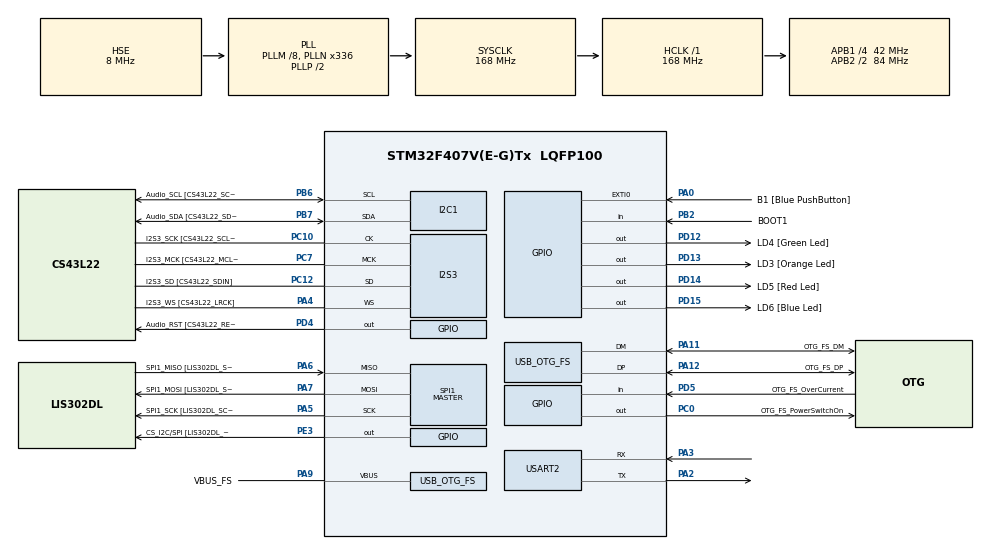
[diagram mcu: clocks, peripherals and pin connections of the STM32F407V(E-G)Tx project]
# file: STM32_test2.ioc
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I2S3.AudioFreq-Half_Duplex_Master=I2S_AUDIOFREQ_96K
I2S3.ErrorAudioFreq=-2.34 %
I2S3.ErrorAudioFreq-Half_Duplex_Master=0.8 %
I2S3.FullDuplexMode=I2S_FULLDUPLEXMODE_DISABLE
I2S3.Instance=SPI$Index
I2S3.RealAudioFreq=93.75 KHz
I2S3.RealAudioFreq-Half_Duplex_Master=96.774 KHz
I2S3.VirtualMode=I2S_MODE_MASTER
Mcu.Family=STM32F4
Mcu.Name=STM32F407V(E-G)Tx
Mcu.Package=LQFP100
NVIC.OTG_FS_IRQn=true\:0\:0\:false\:false\:true\:true\:true\:true
NVIC.PriorityGroup=NVIC_PRIORITYGROUP_0
NVIC.USART2_IRQn=true\:0\:0\:false\:false\:true\:true\:true\:true
PA0-WKUP.GPIO_Label=B1 [Blue PushButton]
PA0-WKUP.GPIO_ModeDefaultEXTI=GPIO_MODE_EVT_RISING
PA0-WKUP.GPIO_PuPd=GPIO_NOPULL
PA0-WKUP.Signal=GPXTI0
PA10.GPIO_Label=OTG_FS_ID
PA10.GPIO_Mode=GPIO_MODE_AF_PP
PA10.GPIO_PuPd=GPIO_NOPULL
PA10.GPIO_Speed=GPIO_SPEED_FREQ_LOW
PA10.Signal=USB_OTG_FS_ID
PA11.GPIO_Label=OTG_FS_DM
PA11.GPIO_Mode=GPIO_MODE_AF_PP
PA11.GPIO_PuPd=GPIO_NOPULL
PA11.GPIO_Speed=GPIO_SPEED_FREQ_LOW
PA11.Mode=Host_Only
PA11.Signal=USB_OTG_FS_DM
PA12.GPIO_Label=OTG_FS_DP
PA12.GPIO_Mode=GPIO_MODE_AF_PP
PA12.GPIO_PuPd=GPIO_NOPULL
PA12.GPIO_Speed=GPIO_SPEED_FREQ_LOW
PA12.Mode=Host_Only
PA12.Signal=USB_OTG_FS_DP
PA13.GPIO_Label=SWDIO
PA13.Mode=Serial_Wire
PA13.Signal=SYS_JTMS-SWDIO
PA14.GPIO_Label=SWCLK
PA14.Mode=Serial_Wire
PA14.Signal=SYS_JTCK-SWCLK
PA2.Mode=Asynchronous
PA2.Signal=USART2_TX
PA3.Mode=Asynchronous
PA3.Signal=USART2_RX
PA4.GPIO_Label=I2S3_WS [CS43L22_LRCK]
PA4.GPIO_Mode=GPIO_MODE_AF_PP
PA4.GPIO_PuPd=GPIO_NOPULL
PA4.GPIO_Speed=GPIO_SPEED_FREQ_LOW
PA4.Mode=Half_Duplex_Master
PA4.Signal=I2S3_WS
PA5.GPIO_Label=SPI1_SCK [LIS302DL_SCL/SPC]
PA5.GPIO_Mode=GPIO_MODE_AF_PP
PA5.GPIO_PuPd=GPIO_NOPULL
PA5.GPIO_Speed=GPIO_SPEED_FREQ_LOW
PA5.Mode=Full_Duplex_Master
PA5.Signal=SPI1_SCK
PA6.GPIO_Label=SPI1_MISO [LIS302DL_SDO]
PA6.GPIO_Mode=GPIO_MODE_AF_PP
PA6.GPIO_PuPd=GPIO_NOPULL
PA6.GPIO_Speed=GPIO_SPEED_FREQ_LOW
PA6.Mode=Full_Duplex_Master
PA6.Signal=SPI1_MISO
PA7.GPIO_Label=SPI1_MOSI [LIS302DL_SDA/SDI/SDO]
PA7.GPIO_Mode=GPIO_MODE_AF_PP
PA7.GPIO_PuPd=GPIO_NOPULL
PA7.GPIO_Speed=GPIO_SPEED_FREQ_LOW
PA7.Mode=Full_Duplex_Master
PA7.Signal=SPI1_MOSI
PA9.GPIO_Label=VBUS_FS
PA9.GPIO_Mode=GPIO_MODE_INPUT
PA9.GPIO_PuPd=GPIO_NOPULL
PA9.Mode=Activate_VBUS
PA9.Signal=USB_OTG_FS_VBUS
PB10.GPIO_Label=CLK_IN [MP45DT02_CLK]
PB10.GPIO_Mode=GPIO_MODE_AF_PP
PB10.GPIO_PuPd=GPIO_NOPULL
PB10.GPIO_Speed=GPIO_SPEED_FREQ_LOW
PB10.Signal=I2S2_CK
PB2.GPIO_Label=BOOT1
PB2.GPIO_Mode=GPIO_MODE_INPUT
PB2.GPIO_PuPd=GPIO_NOPULL
PB2.Signal=GPIO_Input
PB3.GPIO_Label=SWO
PB3.Signal=SYS_JTDO-SWO
PB6.GPIO_Label=Audio_SCL [CS43L22_SCL]
PB6.GPIO_Mode=GPIO_MODE_AF_OD
PB6.GPIO_Pu=GPIO_PULLUP
PB6.GPIO_PuPd=GPIO_NOPULL
PB6.GPIO_Speed=GPIO_SPEED_FREQ_LOW
PB6.Mode=I2C
PB6.Signal=I2C1_SCL
PB7.GPIO_Label=Audio_SDA [CS43L22_SDA]
PB7.GPIO_Mode=GPIO_MODE_AF_OD
PB7.GPIO_Pu=GPIO_PULLUP
PB7.GPIO_Speed=GPIO_SPEED_FREQ_LOW
PB7.Mode=I2C
PB7.Signal=I2C1_SDA
PC0.GPIO_Label=OTG_FS_PowerSwitchOn
PC0.GPIO_PuPd=GPIO_NOPULL
PC0.GPIO_Speed=GPIO_SPEED_FREQ_LOW
PC0.PinState=GPIO_PIN_SET
PC0.Signal=GPIO_Output
PC10.GPIO_Label=I2S3_SCK [CS43L22_SCLK]
PC10.GPIO_Mode=GPIO_MODE_AF_PP
PC10.GPIO_PuPd=GPIO_NOPULL
PC10.GPIO_Speed=GPIO_SPEED_FREQ_LOW
PC10.Mode=Half_Duplex_Master
PC10.Signal=I2S3_CK
PC12.GPIO_Label=I2S3_SD [CS43L22_SDIN]
PC12.GPIO_Mode=GPIO_MODE_AF_PP
PC12.GPIO_PuPd=GPIO_NOPULL
PC12.GPIO_Speed=GPIO_SPEED_FREQ_LOW
PC12.Mode=Half_Duplex_Master
PC12.Signal=I2S3_SD
PC14-OSC32_IN.GPIO_Label=PC14-OSC32_IN
PC14-OSC32_IN.Mode=LSE-External-Oscillator
PC14-OSC32_IN.Signal=RCC_OSC32_IN
PC15-OSC32_OUT.GPIO_Label=PC15-OSC32_OUT
PC15-OSC32_OUT.Mode=LSE-External-Oscillator
PC15-OSC32_OUT.Signal=RCC_OSC32_OUT
PC3.GPIO_Label=PDM_OUT [MP45DT02_DOUT]
PC3.GPIO_Mode=GPIO_MODE_AF_PP
PC3.GPIO_PuPd=GPIO_NOPULL
PC3.GPIO_Speed=GPIO_SPEED_FREQ_LOW
PC3.Signal=I2S2_SD
PC7.GPIO_Label=I2S3_MCK [CS43L22_MCLK]
PC7.GPIO_Mode=GPIO_MODE_AF_PP
PC7.GPIO_PuPd=GPIO_NOPULL
PC7.GPIO_Speed=GPIO_SPEED_FREQ_LOW
PC7.Mode=Master_Clock_Activated
PC7.Signal=I2S3_MCK
PD12.GPIO_Label=LD4 [Green Led]
PD12.GPIO_PuPd=GPIO_NOPULL
PD12.GPIO_Speed=GPIO_SPEED_FREQ_LOW
PD12.Signal=GPIO_Output
PD13.GPIO_Label=LD3 [Orange Led]
PD13.GPIO_PuPd=GPIO_NOPULL
PD13.GPIO_Speed=GPIO_SPEED_FREQ_LOW
PD13.Signal=GPIO_Output
PD14.GPIO_Label=LD5 [Red Led]
PD14.GPIO_PuPd=GPIO_NOPULL
PD14.GPIO_Speed=GPIO_SPEED_FREQ_LOW
PD14.Signal=GPIO_Output
PD15.GPIO_Label=LD6 [Blue Led]
PD15.GPIO_PuPd=GPIO_NOPULL
PD15.GPIO_Speed=GPIO_SPEED_FREQ_LOW
PD15.Signal=GPIO_Output
PD4.GPIO_Label=Audio_RST [CS43L22_RESET]
PD4.GPIO_PuPd=GPIO_NOPULL
PD4.GPIO_Speed=GPIO_SPEED_FREQ_LOW
PD4.Signal=GPIO_Output
PD5.GPIO_Label=OTG_FS_OverCurrent
PD5.GPIO_Mode=GPIO_MODE_INPUT
PD5.GPIO_PuPd=GPIO_NOPULL
PD5.Signal=GPIO_Input
PE3.GPIO_Label=CS_I2C/SPI [LIS302DL_CS_I2C/SPI]
PE3.GPIO_PuPd=GPIO_NOPULL
PE3.GPIO_Speed=GPIO_SPEED_FREQ_LOW
PE3.Signal=GPIO_Output
PH0-OSC_IN.GPIO_Label=PH0-OSC_IN
PH0-OSC_IN.Mode=HSE-External-Oscillator
PH0-OSC_IN.Signal=RCC_OSC_IN
PH1-OSC_OUT.GPIO_Label=PH1-OSC_OUT
PH1-OSC_OUT.Mode=HSE-External-Oscillator
PH1-OSC_OUT.Signal=RCC_OSC_OUT
ProjectManager.HeapSize=0x200
ProjectManager.StackSize=0x400
ProjectManager.TargetToolchain=STM32CubeIDE
RCC.48MHZClocksFreq_Value=48000000
RCC.AHBFreq_Value=168000000
RCC.APB1CLKDivider=RCC_HCLK_DIV4
RCC.APB1Freq_Value=42000000
RCC.APB1TimFreq_Value=84000000
RCC.APB2CLKDivider=RCC_HCLK_DIV2
RCC.APB2Freq_Value=84000000
RCC.APB2TimFreq_Value=168000000
RCC.CortexFreq_Value=168000000
RCC.HCLKFreq_Value=168000000
RCC.HSE_VALUE=8000000
RCC.HSI_VALUE=16000000
RCC.PLLM=8
RCC.PLLN=336
RCC.PLLQ=7
RCC.SYSCLKFreq_VALUE=168000000
RCC.SYSCLKSource=RCC_SYSCLKSOURCE_PLLCLK
RCC.VCOOutputFreq_Value=336000000
SPI1.BaudRatePrescaler-Full_Duplex_Master=SPI_BAUDRATEPRESCALER_2
SPI1.CalculateBaudRate-Full_Duplex_Master=42.0 MBits/s
SPI1.Direction=SPI_DIRECTION_2LINES
SPI1.Mode=SPI_MODE_MASTER
SPI1.Mode-Full_Duplex_Master=SPI_MODE_MASTER
SPI1.VirtualType=VM_MASTER
USART2.VirtualMode=VM_ASYNC
USB_HOST.BSP.number=1
USB_HOST.USBH_HandleTypeDef-CDC_FS=hUsbHostFS
USB_HOST.VirtualModeFS=Cdc
USB_HOST0.BSP.STBoard=false
USB_HOST0.BSP.api=Unknown
USB_HOST0.BSP.instance=PC0
USB_HOST0.BSP.ip=GPIO
USB_HOST0.BSP.mode=Output
USB_HOST0.BSP.name=Drive_VBUS_FS
USB_HOST0.BSP.solution=PC0
USB_OTG_FS.VirtualMode=Host_Only
USB_OTG_FS.phy_itface=HCD_PHY_EMBEDDED
VP_USB_HOST_VS_USB_HOST_CDC_FS.Mode=CDC_FS
board=STM32F407G-DISC1

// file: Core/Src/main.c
/* USER CODE BEGIN Header */
/**
  ******************************************************************************
  * @file           : main.c
  * @brief          : Main program body
  ******************************************************************************
  * @attention
  *
  * Copyright (c) 2025 STMicroelectronics.
  * All rights reserved.
  *
  * This software is licensed under terms that can be found in the LICENSE file
  * in the root directory of this software component.
  * If no LICENSE file comes with this software, it is provided AS-IS.
  *
  ******************************************************************************
  */
#include <string.h>
#include <stdio.h>
/* USER CODE END Header */
#include "main.h"
#include "usb_host.h"

/* USER CODE BEGIN Includes */
#include "bno055_stm32.h"
/* USER CODE END Includes */

I2C_HandleTypeDef hi2c1;

I2S_HandleTypeDef hi2s3;

SPI_HandleTypeDef hspi1;

UART_HandleTypeDef huart2;

/* USER CODE BEGIN PV */
BNO055_HandleTypeDef hBNO055;

float imu_heading_deg = 0.0f;
float imu_roll_deg    = 0.0f;
float imu_pitch_deg   = 0.0f;
float qw, qx, qy, qz;
float gyro_x, gyro_y, gyro_z;
float acc_x, acc_y, acc_z;

char uart_tx_buffer[200];
/* USER CODE END PV */

void SystemClock_Config(void);
static void MX_GPIO_Init(void);
static void MX_I2C1_Init(void);
static void MX_I2S3_Init(void);
static void MX_SPI1_Init(void);
static void MX_USART2_UART_Init(void);
void MX_USB_HOST_Process(void);

/* USER CODE BEGIN PFP */
void IMU_SendData(float heading, float roll, float pitch);
//void IMU_SendFullData();
/* USER CODE END PFP */

/* USER CODE BEGIN 0 */
//void IMU_SendFullData()
//{
//    int len = snprintf(uart_tx_buffer, sizeof(uart_tx_buffer),
//                       "QW:%.4f,QX:%.4f,QY:%.4f,QZ:%.4f,"
//                       "GX:%.4f,GY:%.4f,GZ:%.4f,"
//                       "AX:%.4f,AY:%.4f,AZ:%.4f\r\n",
//                       qw, qx, qy, qz,
//                       gyro_x, gyro_y, gyro_z,
//                       acc_x, acc_y, acc_z);
//
//    HAL_UART_Transmit(&huart2, (uint8_t *)uart_tx_buffer, len, HAL_MAX_DELAY);
//}
/* USER CODE END 0 */

int main(void)
{

  /* MCU Configuration--------------------------------------------------------*/

  /* Reset of all peripherals, Initializes the Flash interface and the Systick. */
  HAL_Init();

  /* Configure the system clock */
  SystemClock_Config();

  /* Initialize all configured peripherals */
  MX_GPIO_Init();
  MX_I2C1_Init();
  MX_I2S3_Init();
  MX_SPI1_Init();
  MX_USB_HOST_Init();

  /* -----------------------------------------------
   * ① UART2 TX 핀(PA2)을 INPUT 모드로 강제 설정
   *    → 라즈베리파이 부팅 중 TX출력 충돌 방지
   * ----------------------------------------------- */
  GPIO_InitTypeDef GPIO_InitStruct = {0};
  GPIO_InitStruct.Pin = GPIO_PIN_2;     // PA2 = USART2_TX
  GPIO_InitStruct.Mode = GPIO_MODE_INPUT;
  GPIO_InitStruct.Pull = GPIO_NOPULL;
  HAL_GPIO_Init(GPIOA, &GPIO_InitStruct);
  /* -----------------------------------------------
   * ② 라즈베리파이 부팅 대기 (필요 시 2000~5000ms)
   * ----------------------------------------------- */
  HAL_Delay(5000);
  /* -----------------------------------------------
   * ③ 이제 UART2 초기화 (TX 핀이 활성화됨)
   * ----------------------------------------------- */
  MX_USART2_UART_Init();

  /* USER CODE BEGIN 2 */
  uint8_t buffer[256];

  hBNO055.hi2c   = &hi2c1;
  hBNO055.address = 0x28;   // COM3 = LOW 일 때 기본 주소, HIGH면 0x29로 변경
  if (BNO055_Init(&hBNO055) != HAL_OK) {
      // 초기화 실패 시 에러 처리 (LED 깜빡이거나, 무한루프 등)
	  HAL_GPIO_WritePin(GPIOD, GPIO_PIN_15,1);
  } else {
	  HAL_GPIO_WritePin(GPIOD, GPIO_PIN_14,1);
  }
  /* USER CODE END 2 */

  /* Infinite loop */
  /* USER CODE BEGIN WHILE */
  while (1)
  {
	  if (BNO055_ReadEuler(&hBNO055,
						   &imu_heading_deg,
						   &imu_roll_deg,
						   &imu_pitch_deg) == HAL_OK) {
		  // 여기서 imu_heading_deg / imu_roll_deg / imu_pitch_deg 값을
		  //  - 디버거 watch window로 보거나
		  //  - UART로 printf 해서 확인하면 됨
		  IMU_SendData(imu_heading_deg, imu_roll_deg, imu_pitch_deg);
	  }
//      HAL_Delay(80);  // 아두이노 예제와 비슷하게 80ms 주기
		/* --------------------------
	  	  1) Quaternion 읽기  ★ 추가됨
		--------------------------- */
//		BNO055_ReadQuaternion(&hBNO055, &qw, &qx, &qy, &qz);

		/* --------------------------
		  2) Gyro(rad/s) 읽기 ★ 추가됨
		--------------------------- */
//		BNO055_ReadGyro(&hBNO055, &gyro_x, &gyro_y, &gyro_z);

		/* --------------------------
		  3) Linear Acceleration(m/s²) 읽기 ★ 추가됨
		--------------------------- */
//		BNO055_ReadAcceleration(&hBNO055, &acc_x, &acc_y, &acc_z);

//		IMU_SendFullData();
    /* USER CODE END WHILE */
    MX_USB_HOST_Process();

  }
}

void SystemClock_Config(void)
{
  RCC_OscInitTypeDef RCC_OscInitStruct = {0};
  RCC_ClkInitTypeDef RCC_ClkInitStruct = {0};

  /** Configure the main internal regulator output voltage
  */
  __HAL_RCC_PWR_CLK_ENABLE();
  __HAL_PWR_VOLTAGESCALING_CONFIG(PWR_REGULATOR_VOLTAGE_SCALE1);

  /** Initializes the RCC Oscillators according to the specified parameters
  * in the RCC_OscInitTypeDef structure.
  */
  RCC_OscInitStruct.OscillatorType = RCC_OSCILLATORTYPE_HSE;
  RCC_OscInitStruct.HSEState = RCC_HSE_ON;
  RCC_OscInitStruct.PLL.PLLState = RCC_PLL_ON;
  RCC_OscInitStruct.PLL.PLLSource = RCC_PLLSOURCE_HSE;
  RCC_OscInitStruct.PLL.PLLM = 8;
  RCC_OscInitStruct.PLL.PLLN = 336;
  RCC_OscInitStruct.PLL.PLLP = RCC_PLLP_DIV2;
  RCC_OscInitStruct.PLL.PLLQ = 7;
  if (HAL_RCC_OscConfig(&RCC_OscInitStruct) != HAL_OK)
  {
    Error_Handler();
  }

  /** Initializes the CPU, AHB and APB buses clocks
  */
  RCC_ClkInitStruct.ClockType = RCC_CLOCKTYPE_HCLK|RCC_CLOCKTYPE_SYSCLK
                              |RCC_CLOCKTYPE_PCLK1|RCC_CLOCKTYPE_PCLK2;
  RCC_ClkInitStruct.SYSCLKSource = RCC_SYSCLKSOURCE_PLLCLK;
  RCC_ClkInitStruct.AHBCLKDivider = RCC_SYSCLK_DIV1;
  RCC_ClkInitStruct.APB1CLKDivider = RCC_HCLK_DIV4;
  RCC_ClkInitStruct.APB2CLKDivider = RCC_HCLK_DIV2;

  if (HAL_RCC_ClockConfig(&RCC_ClkInitStruct, FLASH_LATENCY_5) != HAL_OK)
  {
    Error_Handler();
  }
}

static void MX_I2C1_Init(void)
{

  hi2c1.Instance = I2C1;
  hi2c1.Init.ClockSpeed = 100000;
  hi2c1.Init.DutyCycle = I2C_DUTYCYCLE_2;
  hi2c1.Init.OwnAddress1 = 0;
  hi2c1.Init.AddressingMode = I2C_ADDRESSINGMODE_7BIT;
  hi2c1.Init.DualAddressMode = I2C_DUALADDRESS_DISABLE;
  hi2c1.Init.OwnAddress2 = 0;
  hi2c1.Init.GeneralCallMode = I2C_GENERALCALL_DISABLE;
  hi2c1.Init.NoStretchMode = I2C_NOSTRETCH_DISABLE;
  if (HAL_I2C_Init(&hi2c1) != HAL_OK)
  {
    Error_Handler();
  }

}

static void MX_I2S3_Init(void)
{

  hi2s3.Instance = SPI3;
  hi2s3.Init.Mode = I2S_MODE_MASTER_TX;
  hi2s3.Init.Standard = I2S_STANDARD_PHILIPS;
  hi2s3.Init.DataFormat = I2S_DATAFORMAT_16B;
  hi2s3.Init.MCLKOutput = I2S_MCLKOUTPUT_ENABLE;
  hi2s3.Init.AudioFreq = I2S_AUDIOFREQ_96K;
  hi2s3.Init.CPOL = I2S_CPOL_LOW;
  hi2s3.Init.ClockSource = I2S_CLOCK_PLL;
  hi2s3.Init.FullDuplexMode = I2S_FULLDUPLEXMODE_DISABLE;
  if (HAL_I2S_Init(&hi2s3) != HAL_OK)
  {
    Error_Handler();
  }

}

static void MX_SPI1_Init(void)
{

  /* SPI1 parameter configuration*/
  hspi1.Instance = SPI1;
  hspi1.Init.Mode = SPI_MODE_MASTER;
  hspi1.Init.Direction = SPI_DIRECTION_2LINES;
  hspi1.Init.DataSize = SPI_DATASIZE_8BIT;
  hspi1.Init.CLKPolarity = SPI_POLARITY_LOW;
  hspi1.Init.CLKPhase = SPI_PHASE_1EDGE;
  hspi1.Init.NSS = SPI_NSS_SOFT;
  hspi1.Init.BaudRatePrescaler = SPI_BAUDRATEPRESCALER_2;
  hspi1.Init.FirstBit = SPI_FIRSTBIT_MSB;
  hspi1.Init.TIMode = SPI_TIMODE_DISABLE;
  hspi1.Init.CRCCalculation = SPI_CRCCALCULATION_DISABLE;
  hspi1.Init.CRCPolynomial = 10;
  if (HAL_SPI_Init(&hspi1) != HAL_OK)
  {
    Error_Handler();
  }

}

static void MX_USART2_UART_Init(void)
{

  huart2.Instance = USART2;
  huart2.Init.BaudRate = 115200;
  huart2.Init.WordLength = UART_WORDLENGTH_8B;
  huart2.Init.StopBits = UART_STOPBITS_1;
  huart2.Init.Parity = UART_PARITY_NONE;
  huart2.Init.Mode = UART_MODE_TX_RX;
  huart2.Init.HwFlowCtl = UART_HWCONTROL_NONE;
  huart2.Init.OverSampling = UART_OVERSAMPLING_16;
  if (HAL_UART_Init(&huart2) != HAL_OK)
  {
    Error_Handler();
  }

}

static void MX_GPIO_Init(void)
{
  GPIO_InitTypeDef GPIO_InitStruct = {0};

  /* GPIO Ports Clock Enable */
  __HAL_RCC_GPIOE_CLK_ENABLE();
  __HAL_RCC_GPIOC_CLK_ENABLE();
  __HAL_RCC_GPIOH_CLK_ENABLE();
  __HAL_RCC_GPIOA_CLK_ENABLE();
  __HAL_RCC_GPIOB_CLK_ENABLE();
  __HAL_RCC_GPIOD_CLK_ENABLE();

  /*Configure GPIO pin Output Level */
  HAL_GPIO_WritePin(CS_I2C_SPI_GPIO_Port, CS_I2C_SPI_Pin, GPIO_PIN_RESET);

  /*Configure GPIO pin Output Level */
  HAL_GPIO_WritePin(OTG_FS_PowerSwitchOn_GPIO_Port, OTG_FS_PowerSwitchOn_Pin, GPIO_PIN_SET);

  /*Configure GPIO pin Output Level */
  HAL_GPIO_WritePin(GPIOD, LD4_Pin|LD3_Pin|LD5_Pin|LD6_Pin
                          |Audio_RST_Pin, GPIO_PIN_RESET);

  /*Configure GPIO pin : CS_I2C_SPI_Pin */
  GPIO_InitStruct.Pin = CS_I2C_SPI_Pin;
  GPIO_InitStruct.Mode = GPIO_MODE_OUTPUT_PP;
  GPIO_InitStruct.Pull = GPIO_NOPULL;
  GPIO_InitStruct.Speed = GPIO_SPEED_FREQ_LOW;
  HAL_GPIO_Init(CS_I2C_SPI_GPIO_Port, &GPIO_InitStruct);

  /*Configure GPIO pin : OTG_FS_PowerSwitchOn_Pin */
  GPIO_InitStruct.Pin = OTG_FS_PowerSwitchOn_Pin;
  GPIO_InitStruct.Mode = GPIO_MODE_OUTPUT_PP;
  GPIO_InitStruct.Pull = GPIO_NOPULL;
  GPIO_InitStruct.Speed = GPIO_SPEED_FREQ_LOW;
  HAL_GPIO_Init(OTG_FS_PowerSwitchOn_GPIO_Port, &GPIO_InitStruct);

  /*Configure GPIO pin : PDM_OUT_Pin */
  GPIO_InitStruct.Pin = PDM_OUT_Pin;
  GPIO_InitStruct.Mode = GPIO_MODE_AF_PP;
  GPIO_InitStruct.Pull = GPIO_NOPULL;
  GPIO_InitStruct.Speed = GPIO_SPEED_FREQ_LOW;
  GPIO_InitStruct.Alternate = GPIO_AF5_SPI2;
  HAL_GPIO_Init(PDM_OUT_GPIO_Port, &GPIO_InitStruct);

  /*Configure GPIO pin : B1_Pin */
  GPIO_InitStruct.Pin = B1_Pin;
  GPIO_InitStruct.Mode = GPIO_MODE_EVT_RISING;
  GPIO_InitStruct.Pull = GPIO_NOPULL;
  HAL_GPIO_Init(B1_GPIO_Port, &GPIO_InitStruct);

  /*Configure GPIO pin : BOOT1_Pin */
  GPIO_InitStruct.Pin = BOOT1_Pin;
  GPIO_InitStruct.Mode = GPIO_MODE_INPUT;
  GPIO_InitStruct.Pull = GPIO_NOPULL;
  HAL_GPIO_Init(BOOT1_GPIO_Port, &GPIO_InitStruct);

  /*Configure GPIO pin : CLK_IN_Pin */
  GPIO_InitStruct.Pin = CLK_IN_Pin;
  GPIO_InitStruct.Mode = GPIO_MODE_AF_PP;
  GPIO_InitStruct.Pull = GPIO_NOPULL;
  GPIO_InitStruct.Speed = GPIO_SPEED_FREQ_LOW;
  GPIO_InitStruct.Alternate = GPIO_AF5_SPI2;
  HAL_GPIO_Init(CLK_IN_GPIO_Port, &GPIO_InitStruct);

  /*Configure GPIO pins : LD4_Pin LD3_Pin LD5_Pin LD6_Pin
                           Audio_RST_Pin */
  GPIO_InitStruct.Pin = LD4_Pin|LD3_Pin|LD5_Pin|LD6_Pin
                          |Audio_RST_Pin;
  GPIO_InitStruct.Mode = GPIO_MODE_OUTPUT_PP;
  GPIO_InitStruct.Pull = GPIO_NOPULL;
  GPIO_InitStruct.Speed = GPIO_SPEED_FREQ_LOW;
  HAL_GPIO_Init(GPIOD, &GPIO_InitStruct);

  /*Configure GPIO pin : OTG_FS_OverCurrent_Pin */
  GPIO_InitStruct.Pin = OTG_FS_OverCurrent_Pin;
  GPIO_InitStruct.Mode = GPIO_MODE_INPUT;
  GPIO_InitStruct.Pull = GPIO_NOPULL;
  HAL_GPIO_Init(OTG_FS_OverCurrent_GPIO_Port, &GPIO_InitStruct);

}

/* USER CODE BEGIN 4 */
void IMU_SendData(float heading, float roll, float pitch)
{
    // 예: "H:123.45,R:1.23,P:-4.56\r\n"
    int len = snprintf(uart_tx_buffer, sizeof(uart_tx_buffer),
                       "H:%.2f,R:%.2f,P:%.2f\r\n",
                       heading, roll, pitch);

    HAL_UART_Transmit(&huart2, (uint8_t*)uart_tx_buffer, len, HAL_MAX_DELAY);
}
/* USER CODE END 4 */

void Error_Handler(void)
{
  __disable_irq();
  while (1)
  {
  }
}
